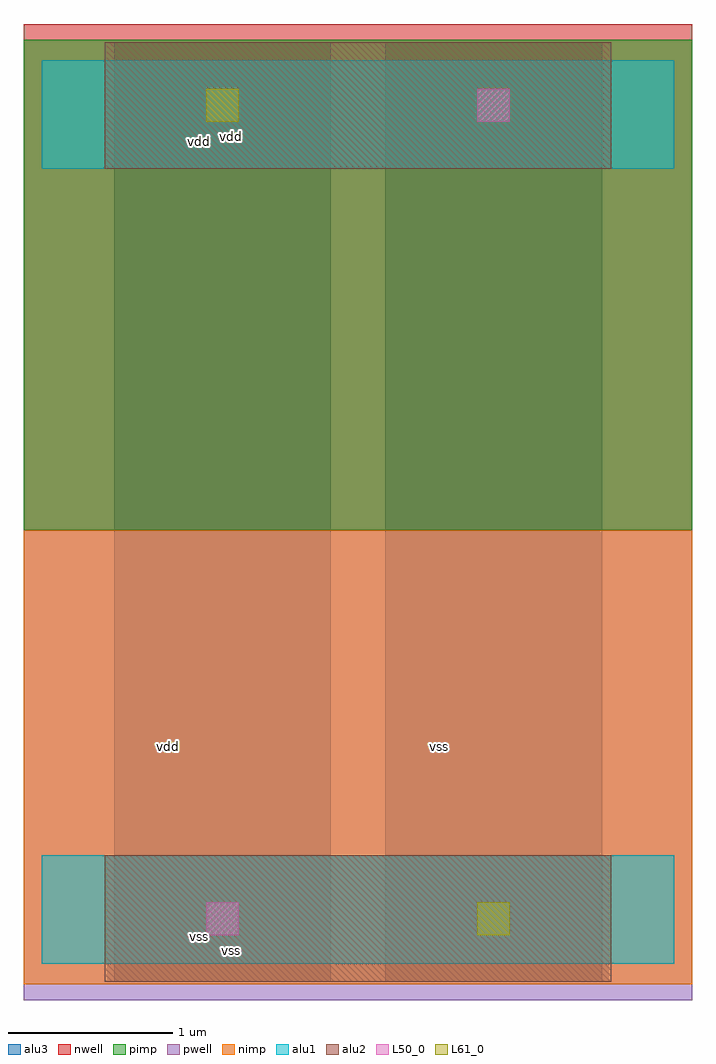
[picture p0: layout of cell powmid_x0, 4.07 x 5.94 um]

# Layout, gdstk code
import gdstk
lib = gdstk.Library(unit=1e-6, precision=2.5e-09)
def R(c, l, rs):  # rectangles x0, y0, x1, y1
    for r in rs: c.add(gdstk.rectangle(r[:2], r[2:], *l))
pwell = (41, 0)
nwell = (42, 0)
pimp = (44, 0)
nimp = (45, 0)
alu1 = (49, 0)
L50_0 = (50, 0)
alu2 = (51, 0)
L61_0 = (61, 0)
alu3 = (62, 0)

powmid_x0 = lib.new_cell('powmid_x0')
R(powmid_x0, pwell, [(-0.11,-0.22,3.96,2.64)])
R(powmid_x0, nwell, [(-0.11,2.64,3.96,5.72)])
R(powmid_x0, pimp, [(-0.11,2.64,3.96,5.625)])
R(powmid_x0, nimp, [(-0.11,-0.125,3.96,2.64)])
R(powmid_x0, alu1, [(0,0,3.85,0.66), (0,4.84,3.85,5.5)])
R(powmid_x0, L50_0, [(1,0.175,1.2,0.375), (2.65,5.125,2.85,5.325)])
R(powmid_x0, alu2, [(0.385,-0.11,3.465,0.66), (0.385,4.84,3.465,5.61)])
R(powmid_x0, L61_0, [(2.65,0.175,2.85,0.375), (1,5.125,1.2,5.325)])
R(powmid_x0, alu3, [(0.44,-0.11,1.76,5.61), (2.09,-0.11,3.41,5.61)])
powmid_x0.add(gdstk.Label('vss', (0.9625,0.165), layer=49, texttype=0))
powmid_x0.add(gdstk.Label('vdd', (0.9625,5.005), layer=49, texttype=0))
powmid_x0.add(gdstk.Label('vss', (1.155,0.0825), layer=51, texttype=0))
powmid_x0.add(gdstk.Label('vdd', (1.155,5.0325), layer=51, texttype=0))
powmid_x0.add(gdstk.Label('vss', (2.42,1.32), layer=62, texttype=0))
powmid_x0.add(gdstk.Label('vdd', (0.77,1.32), layer=62, texttype=0))

lib.write_gds('powmid_x0.gds')
